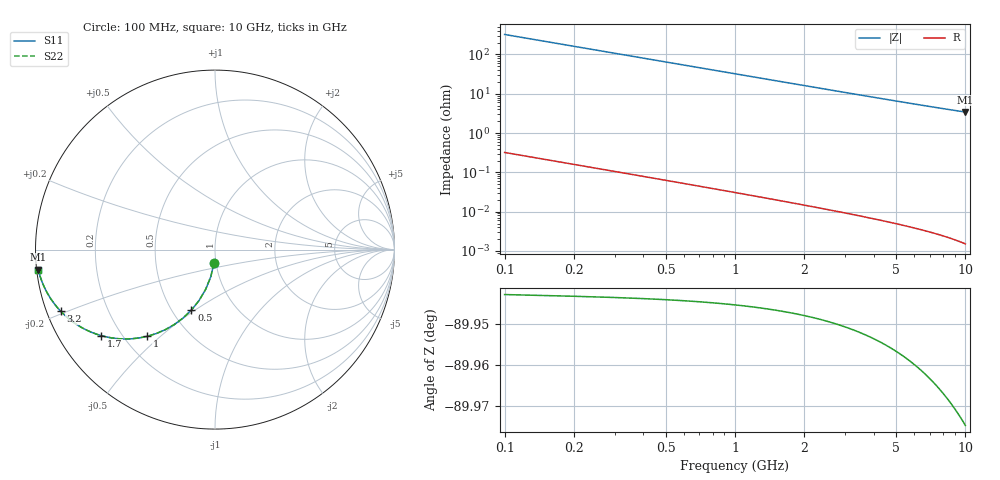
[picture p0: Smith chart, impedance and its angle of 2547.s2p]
# Hz S RI R 50.00
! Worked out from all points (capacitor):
!   100 points, 100 MHz to 10 GHz, reference 50 ohm
!   read as one part in shunt: C = 4.94 pF near 100 MHz
!   lowest |Z| = 3.42 ohm at 10 GHz (marker M1)
!   S11 on the Smith chart (normalised r, x): 100 MHz: 0.98, -0.15; 500 MHz: 0.62, -0.48; 1 GHz: 0.29, -0.45; 1.7 GHz: 0.13, -0.33; 3.2 GHz: 0.04, -0.19; 10 GHz: 0.00, -0.06
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1e8  -0.00599 -0.077  0.9939 -0.0773  0.9939 -0.0773  -0.00599 -0.077
2e8  -0.0236 -0.1513  0.9762 -0.1518  0.9762 -0.1518  -0.0236 -0.1513
3e8  -0.0516 -0.2205  0.9483 -0.2211  0.9483 -0.2211  -0.0516 -0.2205
4e8  -0.0881 -0.2826  0.9117 -0.2835  0.9117 -0.2835  -0.0881 -0.2826
5e8  -0.1311 -0.3366  0.8687 -0.3376  0.8687 -0.3376  -0.1311 -0.3366
6e8  -0.1784 -0.3818  0.8214 -0.3831  0.8214 -0.3831  -0.1784 -0.3818
7e8  -0.2281 -0.4184  0.7717 -0.4199  0.7717 -0.4199  -0.2281 -0.4184
8e8  -0.2785 -0.4469  0.7214 -0.4486  0.7214 -0.4486  -0.2785 -0.4469
1e9  -0.3761 -0.4829  0.6237 -0.485  0.6237 -0.485  -0.3761 -0.4829
1.3e9  -0.5046 -0.4981  0.4952 -0.5009  0.4952 -0.5009  -0.5046 -0.4981
1.7e9  -0.6352 -0.479  0.3646 -0.4826  0.3646 -0.4826  -0.6352 -0.479
1.8e9  -0.6613 -0.4708  0.3385 -0.4747  0.3385 -0.4747  -0.6613 -0.4708
2.1e9  -0.7266 -0.4429  0.2732 -0.4474  0.2732 -0.4474  -0.7266 -0.4429
2.4e9  -0.7764 -0.4135  0.2235 -0.4187  0.2235 -0.4187  -0.7764 -0.4135
2.8e9  -0.8254 -0.376  0.1744 -0.3821  0.1744 -0.3821  -0.8254 -0.376
3.2e9  -0.8606 -0.3422  0.1392 -0.3491  0.1392 -0.3491  -0.8606 -0.3422
3.4e9  -0.8746 -0.3269  0.1252 -0.3342  0.1252 -0.3342  -0.8746 -0.3269
4.2e9  -0.9142 -0.2748  0.0856 -0.2839  0.0856 -0.2839  -0.9142 -0.2748
5.1e9  -0.9403 -0.2307  0.0595 -0.2417  0.0595 -0.2417  -0.9403 -0.2307
6.7e9  -0.9647 -0.1763  0.035 -0.1909  0.035 -0.1909  -0.9647 -0.1763
8.4e9  -0.9774 -0.1382  0.0222 -0.1567  0.0222 -0.1567  -0.9774 -0.1382
1e10  -0.9841 -0.1126  0.0155 -0.1349  0.0155 -0.1349  -0.9841 -0.1126
